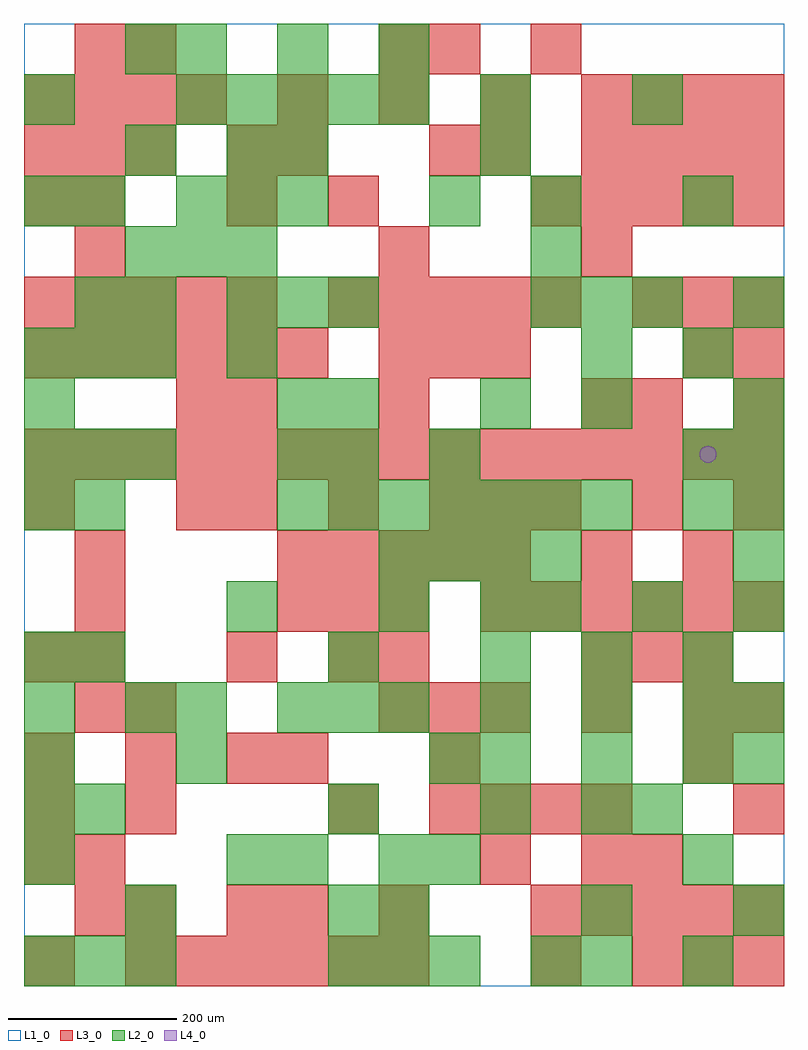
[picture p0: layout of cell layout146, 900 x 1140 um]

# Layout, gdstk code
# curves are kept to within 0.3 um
import gdstk
lib = gdstk.Library(unit=1e-6, precision=1e-09)
def R(c, l, rs):  # rectangles x0, y0, x1, y1
    for r in rs: c.add(gdstk.rectangle(r[:2], r[2:], *l))
def A(c, l, x, y, w, h, nx, ny, dx, dy):  # array of equal rectangles
    R(c, l, [(x+i*dx, y+j*dy, x+i*dx+w, y+j*dy+h) for i in range(nx) for j in range(ny)])
def P(c, l, *ps):  # polygons
    for p in ps: c.add(gdstk.Polygon(p, *l))
L1_0 = (1, 0)
L2_0 = (2, 0)
L3_0 = (3, 0)
L4_0 = (4, 0)

layout146 = lib.new_cell('layout146')
R(layout146, L1_0, [(0,0,900,1140)])
A(layout146, L2_0, 0, 0, 60, 60, 3, 2, 60, 600)
A(layout146, L2_0, 360, 0, 60, 60, 3, 1, 60, 0)
A(layout146, L2_0, 0, 120, 60, 60, 1, 5, 0, 60)
A(layout146, L2_0, 240, 120, 60, 60, 1, 3, 0, 300)
A(layout146, L2_0, 60, 180, 60, 60, 1, 3, 0, 180)
A(layout146, L2_0, 540, 180, 60, 60, 1, 3, 0, 240)
A(layout146, L2_0, 540, 240, 60, 60, 3, 3, 120, 60)
A(layout146, L2_0, 300, 300, 60, 60, 3, 1, 60, 0)
A(layout146, L2_0, 600, 420, 60, 60, 3, 1, 120, 0)
A(layout146, L2_0, 420, 480, 60, 60, 4, 1, 60, 0)
A(layout146, L2_0, 840, 480, 60, 60, 1, 4, 0, 60)
A(layout146, L2_0, 300, 540, 60, 60, 7, 1, 60, 0)
A(layout146, L2_0, 0, 720, 60, 60, 3, 1, 60, 0)
A(layout146, L2_0, 240, 780, 60, 60, 3, 1, 60, 0)
A(layout146, L2_0, 600, 780, 60, 60, 3, 1, 60, 0)
A(layout146, L2_0, 120, 840, 60, 60, 3, 1, 60, 0)
A(layout146, L2_0, 180, 900, 60, 60, 3, 1, 60, 0)
A(layout146, L2_0, 180, 1020, 60, 60, 5, 1, 60, 0)
A(layout146, L2_0, 180, 1080, 60, 60, 3, 1, 120, 0)
R(layout146, L2_0, [(600,0,660,60), (660,0,720,60), (780,0,840,60), (120,60,180,120), (360,60,420,120), (420,60,480,120), (660,60,720,120), (840,60,900,120), (300,120,360,180), (420,120,480,180), (480,120,540,180), (780,120,840,180), (360,180,420,240), (660,180,720,240), (720,180,780,240), (180,240,240,300), (480,240,540,300), (840,240,900,300), (120,300,180,360), (180,300,240,360), (840,300,900,360), (360,360,420,420), (420,420,480,480), (0,540,60,600), (780,540,840,600), (300,600,360,660), (360,600,420,660), (480,600,540,660), (780,600,840,660), (0,660,60,720), (300,660,360,720), (360,660,420,720), (660,660,720,720), (660,720,720,780), (780,720,840,780), (60,780,120,840), (120,780,180,840), (840,780,900,840), (600,840,660,900), (0,900,60,960), (60,900,120,960), (480,900,540,960), (600,900,660,960), (780,900,840,960), (120,960,180,1020), (240,960,300,1020), (300,960,360,1020), (540,960,600,1020), (0,1020,60,1080), (540,1020,600,1080), (720,1020,780,1080), (120,1080,180,1140)])
A(layout146, L3_0, 120, 0, 60, 60, 6, 1, 60, 0)
A(layout146, L3_0, 720, 0, 60, 60, 3, 2, 60, 780)
A(layout146, L3_0, 120, 60, 60, 60, 1, 3, 0, 120)
A(layout146, L3_0, 240, 60, 60, 60, 1, 3, 0, 300)
A(layout146, L3_0, 420, 60, 60, 60, 1, 3, 0, 300)
A(layout146, L3_0, 600, 60, 60, 60, 5, 2, 60, 840)
A(layout146, L3_0, 540, 120, 60, 60, 1, 3, 0, 420)
A(layout146, L3_0, 660, 120, 60, 60, 1, 5, 0, 180)
A(layout146, L3_0, 0, 180, 60, 60, 1, 3, 0, 180)
A(layout146, L3_0, 480, 180, 60, 60, 4, 1, 60, 0)
A(layout146, L3_0, 0, 240, 60, 60, 3, 1, 120, 0)
A(layout146, L3_0, 60, 300, 60, 60, 1, 4, 0, 60)
A(layout146, L3_0, 420, 300, 60, 60, 3, 2, 60, 420)
A(layout146, L3_0, 660, 360, 60, 60, 3, 1, 60, 0)
A(layout146, L3_0, 300, 420, 60, 60, 3, 1, 60, 0)
A(layout146, L3_0, 540, 420, 60, 60, 6, 1, 60, 0)
A(layout146, L3_0, 300, 480, 60, 60, 5, 1, 60, 0)
A(layout146, L3_0, 240, 540, 60, 60, 3, 1, 120, 0)
A(layout146, L3_0, 600, 540, 60, 60, 3, 1, 120, 0)
A(layout146, L3_0, 0, 600, 60, 60, 15, 1, 60, 0)
A(layout146, L3_0, 0, 720, 60, 60, 6, 1, 60, 0)
A(layout146, L3_0, 0, 780, 60, 60, 5, 1, 60, 0)
A(layout146, L3_0, 360, 780, 60, 60, 5, 1, 60, 0)
A(layout146, L3_0, 0, 960, 60, 60, 3, 1, 60, 0)
A(layout146, L3_0, 660, 960, 60, 60, 4, 1, 60, 0)
A(layout146, L3_0, 0, 1020, 60, 60, 4, 1, 60, 0)
A(layout146, L3_0, 300, 1020, 60, 60, 4, 1, 120, 0)
A(layout146, L3_0, 720, 1020, 60, 60, 3, 1, 60, 0)
R(layout146, L3_0, [(0,0,60,60), (600,0,660,60), (60,60,120,120), (300,60,360,120), (0,120,60,180), (60,120,120,180), (720,120,780,180), (360,180,420,240), (840,180,900,240), (300,240,360,300), (480,240,540,300), (780,240,840,300), (780,300,840,360), (840,300,900,360), (360,360,420,420), (780,480,840,540), (180,540,240,600), (180,660,240,720), (720,660,780,720), (840,660,900,720), (780,720,840,780), (840,720,900,780), (60,840,120,900), (420,840,480,900), (0,900,60,960), (60,900,120,960), (240,900,300,960), (360,900,420,960), (240,960,300,1020), (300,960,360,1020), (480,960,540,1020), (60,1080,120,1140), (120,1080,180,1140), (420,1080,480,1140), (480,1080,540,1140), (600,1080,660,1140)])
P(layout146, L4_0, [(820,630),(819.239,633.827),(817.071,637.071),(813.827,639.239),(810,640),(806.173,639.239),(802.929,637.071),(800.761,633.827),(800,630),(800.761,626.173),(802.929,622.929),(806.173,620.761),(810,620),(813.827,620.761),(817.071,622.929),(819.239,626.173)])

lib.write_gds('layout146.gds')
